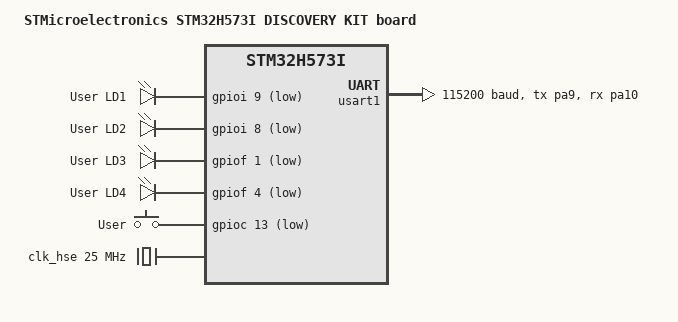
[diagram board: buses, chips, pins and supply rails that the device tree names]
/*
 * Copyright (c) 2023 STMicroelectronics
 *
 * SPDX-License-Identifier: Apache-2.0
 */

/dts-v1/;
#include <st/h5/stm32h573Xi.dtsi>
#include <st/h5/stm32h573iikxq-pinctrl.dtsi>
#include "arduino_r3_connector.dtsi"

/ {
	model = "STMicroelectronics STM32H573I DISCOVERY KIT board";
	compatible = "st,stm32h573i-dk";

	chosen {
		zephyr,console = &usart1;
		zephyr,shell-uart = &usart1;
		zephyr,sram = &sram0;
		zephyr,flash = &flash0;
		zephyr,code-partition = &slot0_partition;
	};

	leds {
		compatible = "gpio-leds";
		green_led_0: led_1 {
			gpios = <&gpioi 9 GPIO_ACTIVE_LOW>;
			label = "User LD1";
		};
		orange_led_0: led_2 {
			gpios = <&gpioi 8 GPIO_ACTIVE_LOW>;
			label = "User LD2";
		};
		red_led_0: led_3 {
			gpios = <&gpiof 1 GPIO_ACTIVE_LOW>;
			label = "User LD3";
		};
		blue_led_0: led_4 {
			gpios = <&gpiof 4 GPIO_ACTIVE_LOW>;
			label = "User LD4";
		};
	};

	gpio_keys {
		compatible = "gpio-keys";
		user_button: button {
			label = "User";
			gpios = <&gpioc 13 GPIO_ACTIVE_LOW>;
		};
	};

	aliases {
		led0 = &blue_led_0;
		sw0 = &user_button;

		watchdog0 = &iwdg;
	};
};

&clk_hse {
	clock-frequency = <DT_FREQ_M(25)>;
	hse-bypass; /* X3 is a 25MHz oscillator on PH0 */
	status = "okay";
};

&pll {
	div-m = <5>;
	mul-n = <96>;
	div-p = <2>;
	div-q = <2>;
	div-r = <2>;
	clocks = <&clk_hse>;
	status = "okay";
};

&rcc {
	clocks = <&pll>;
	clock-frequency = <DT_FREQ_M(240)>;
	ahb-prescaler = <1>;
	apb1-prescaler = <1>;
	apb2-prescaler = <1>;
	apb3-prescaler = <1>;
};

&usart1 {
	pinctrl-0 = <&usart1_tx_pa9 &usart1_rx_pa10>;
	pinctrl-names = "default";
	current-speed = <115200>;
	status = "okay";
};

&flash0 {
	partitions {
		compatible = "fixed-partitions";
		#address-cells = <1>;
		#size-cells = <1>;

		boot_partition: partition@0 {
			label = "mcuboot";
			reg = <0x00000000 DT_SIZE_K(64)>;
		};
		slot0_partition: partition@10000 {
			label = "image-0";
			reg = <0x00010000 DT_SIZE_K(384)>;
		};
		slot1_partition: partition@70000 {
			label = "image-1";
			reg = <0x00070000 DT_SIZE_K(384)>;
		};
		scratch_partition: partition@d0000 {
			label = "image-scratch";
			reg = <0x000d0000 DT_SIZE_K(64)>;
		};
		/* Set 2KB of storage at the end of 1MB flash */
		storage_partition: partition@e0000 {
			label = "storage";
			reg = <0x000e0000 DT_SIZE_K(2)>;
		};
	};
};
